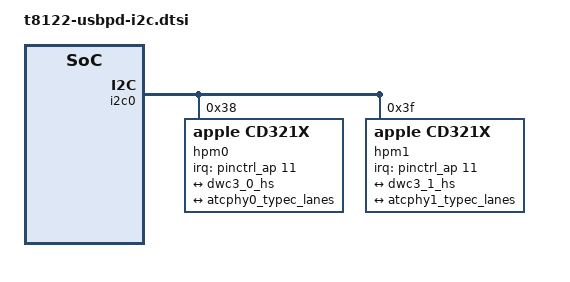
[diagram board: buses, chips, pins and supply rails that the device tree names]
// SPDX-License-Identifier: GPL-2.0+ OR MIT
/*
 * Apple M3 MacBook Pro and iMac (M3, 2023) I2C based USB PD controller nodes
 *
 * This file contains nodes for t8122 devices using I2C based cd321x USB Type-C
 * port controllers. The are used in the M3 MacBook Pro and iMacs but not in the
 * M3 Macbook Airs.
 *
 * target-type: J433, J434, J504
 *
 * Copyright The Asahi Linux Contributors
 */

&i2c0 {
	status = "okay";

	hpm0: usb-pd@38 {
		compatible = "apple,cd321x";
		reg = <0x38>;
		interrupt-parent = <&pinctrl_ap>;
		interrupts = <11 IRQ_TYPE_LEVEL_LOW>;
		interrupt-names = "irq";

		typec0: connector {
			compatible = "usb-c-connector";
			power-role = "dual";
			data-role = "dual";

			ports {
				#address-cells = <1>;
				#size-cells = <0>;
				port@0 {
					reg = <0>;
					typec0_connector_hs: endpoint {
						remote-endpoint = <&dwc3_0_hs>;
					};
				};
				port@1 {
					reg = <1>;
					typec0_connector_ss: endpoint {
						remote-endpoint = <&atcphy0_typec_lanes>;
					};
				};
			};
		};
	};

	hpm1: usb-pd@3f {
		compatible = "apple,cd321x";
		reg = <0x3f>;
		interrupt-parent = <&pinctrl_ap>;
		interrupts = <11 IRQ_TYPE_LEVEL_LOW>;
		interrupt-names = "irq";

		typec1: connector {
			compatible = "usb-c-connector";
			power-role = "dual";
			data-role = "dual";

			ports {
				#address-cells = <1>;
				#size-cells = <0>;
				port@0 {
					reg = <0>;
					typec1_connector_hs: endpoint {
						remote-endpoint = <&dwc3_1_hs>;
					};
				};
				port@1 {
					reg = <1>;
					typec1_connector_ss: endpoint {
						remote-endpoint = <&atcphy1_typec_lanes>;
					};
				};
			};
		};
	};
};
